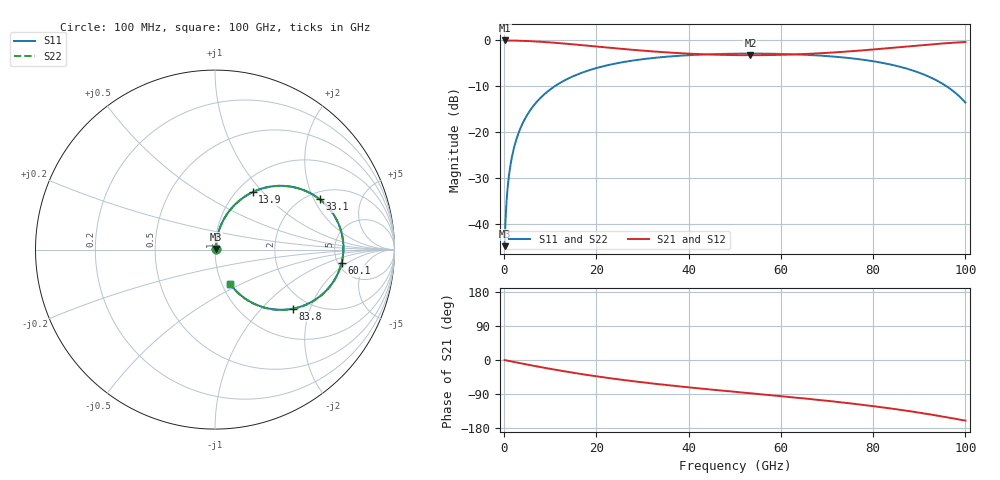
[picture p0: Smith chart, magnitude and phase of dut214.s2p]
! Touchstone file exported from HFSS 2026.1.0
!  File:  C:/ffzhzh/LocalFiles/Ansys_Project_Files/temp_train_RDL_214_1783500912_44152.aedt
!  Generated:  04:56:27 PM Jul  8, 2026
!  Design:  RDL
!  Project:  temp_train_RDL_214_1783500912_44152
! Variables:
!  h_bsmrdl = 2um
!  h_ox = 20um
!  h_rdl = 5um
!  h_sub = 80um
!  h_tmrdl = 3.11um
!  h_tsv = 80um
!  h_via = 3um
!  l_bsmrdl = 300um
!  l_sub = 938.4um
!  l_tmrdl = 538.4um
!  m_sub = 200um
!  pitch = 56um
!  r_tsv = 6um
!  s_tmrdl = 10um
!  w_bsmrdl = 18um
!  w_sub = 500um
!  w_tmrdl = 13.42um
!  x_tsv_center1 = 545.11um
!  x_tsv_center2 = 863.11um
!  x_tsv_center3 = 1414.93um
!  x_tsv_center4 = 1732.93um
!  x_tsv_center5 = 2284.75um
!  x_tsv_center6 = 2602.75um
# GHz S MA R 50.000000
! Terminal data exported
! Port[1] = TM_RDL1_1_T1
! Port[2] = TM_RDL1_1_T2
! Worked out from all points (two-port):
!   1000 points, 100 MHz to 100 GHz, reference 50 ohm
!   highest |S21| = -0.04 dB at 100 MHz (marker M1); lowest = -3.3 dB at 53.4 GHz (marker M2)
!   |S21| within 3 dB of the highest: start of sweep to 42.71 GHz; 64.2 GHz to end of sweep
!   lowest |S11| = -44.9 dB at 100 MHz (marker M3), VSWR 1.01, Z = 50.5 + j0.328 ohm
!   |S11| at or under -10 dB: start of sweep to 11.02 GHz; 95.85 GHz to end of sweep
!   |S22| runs from -44.9 to -2.9 dB; largest |S21 - S12| = 1.6e-14
!   S11 on the Smith chart (normalised r, x): 100 MHz: 1.01, +0.01; 13.9 GHz: 1.17, +0.88; 33.1 GHz: 2.30, +2.22; 60.1 GHz: 5.40, -1.59; 83.8 GHz: 1.64, -1.53; 100 GHz: 1.09, -0.44
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0.1  0.005674 35.0  0.9954 -0.3  0.9954 -0.3  0.005674 35.0
! Gamma 0 0 0 0
! Port Impedance 50 0 50 0
0.9  0.02909 77.3  0.9943 -2.2  0.9943 -2.2  0.02909 77.3
1.4  0.04445 79.4  0.9935 -3.4  0.9935 -3.4  0.04445 79.4
2.3  0.07212 79.7  0.9916 -5.6  0.9916 -5.6  0.07212 79.7
3.5  0.1087 78.2  0.9878 -8.5  0.9878 -8.5  0.1087 78.2
5.3  0.1623 74.7  0.9796 -12.8  0.9796 -12.8  0.1623 74.7
7.6  0.2275 69.9  0.9655 -18.1  0.9655 -18.1  0.2275 69.8
13.9  0.3826 56.8  0.9129 -31.6  0.9129 -31.6  0.3826 56.8
16.8  0.4414 51.3  0.8855 -37.2  0.8855 -37.2  0.4414 51.2
24.1  0.557 38.8  0.8179 -50.0  0.8179 -50.0  0.5569 38.7
33.1  0.647 25.8  0.7502 -63.3  0.7502 -63.3  0.6469 25.7
33.4  0.6492 25.4  0.7484 -63.7  0.7484 -63.7  0.6491 25.3
41.6  0.6939 15.1  0.7085 -74.1  0.7085 -74.1  0.6938 15.0
50.1  0.7141 5.3  0.689 -84.1  0.689 -84.1  0.714 5.2
53.4  0.7159 1.6  0.6873 -87.9  0.6873 -87.9  0.7158 1.5
60.1  0.7094 -5.9  0.6939 -95.6  0.6939 -95.6  0.7093 -6.1
66.7  0.6888 -13.6  0.7137 -103.5  0.7137 -103.5  0.6887 -13.8
75.1  0.6375 -24.4  0.7581 -114.5  0.7581 -114.5  0.6373 -24.6
83.4  0.549 -36.6  0.8213 -127.2  0.8213 -127.2  0.5489 -36.8
83.8  0.5436 -37.3  0.8247 -127.9  0.8247 -127.9  0.5434 -37.5
93.2  0.3771 -53.7  0.908 -145.3  0.908 -145.3  0.377 -53.9
100  0.2092 -66.2  0.9567 -160.0  0.9567 -160.0  0.209 -66.3
